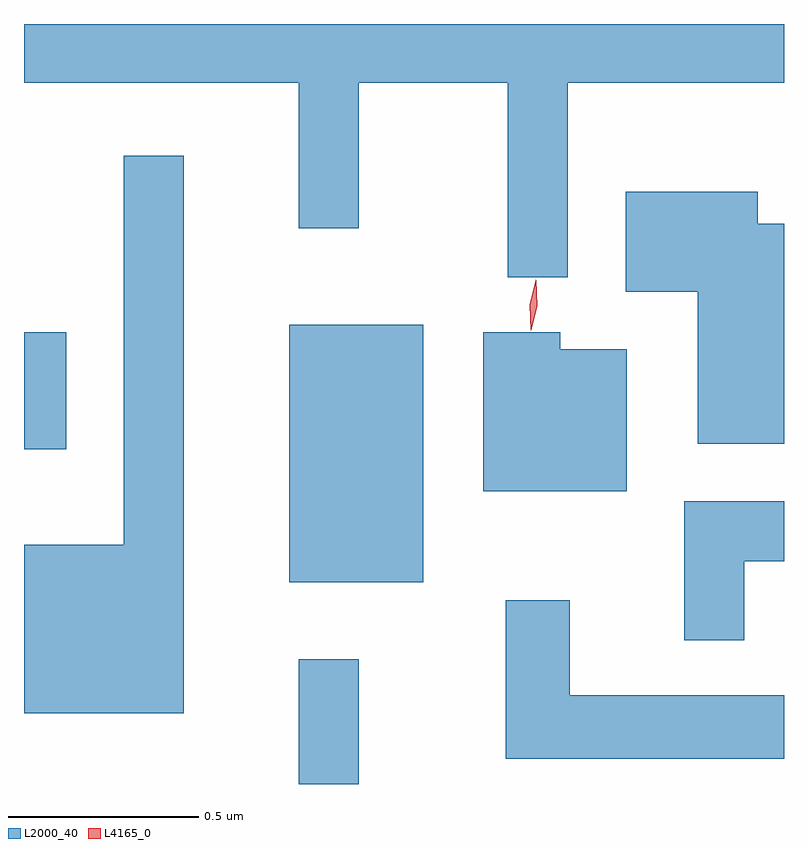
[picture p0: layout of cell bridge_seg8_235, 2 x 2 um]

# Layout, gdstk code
import gdstk
lib = gdstk.Library(unit=1e-6, precision=1e-09)
def R(c, l, rs):  # rectangles x0, y0, x1, y1
    for r in rs: c.add(gdstk.rectangle(r[:2], r[2:], *l))
def P(c, l, *ps):  # polygons
    for p in ps: c.add(gdstk.Polygon(p, *l))
L2000_40 = (2000, 40)
L4165_0 = (4165, 0)

bridge_seg8_235 = lib.new_cell('bridge_seg8_235')
R(bridge_seg8_235, L2000_40, [(1047.676,1918.93,1047.834,1919.258), (1047.651,1919.461,1048.004,1920.139), (1046.953,1919.811,1047.064,1920.119)])
P(bridge_seg8_235, L2000_40, [(1048.384,1920.776),(1048.953,1920.776),(1048.953,1920.93),(1046.953,1920.93),(1046.953,1920.776),(1047.676,1920.776),(1047.676,1920.393),(1047.834,1920.393),(1047.834,1920.776),(1048.226,1920.776),(1048.226,1920.263),(1048.384,1920.263)],
  [(1047.374,1920.583),(1047.216,1920.583),(1047.216,1919.559),(1046.953,1919.559),(1046.953,1919.116),(1047.374,1919.116)],
  [(1048.953,1920.404),(1048.884,1920.404),(1048.884,1920.489),(1048.536,1920.489),(1048.536,1920.226),(1048.726,1920.226),(1048.726,1919.826),(1048.953,1919.826)],
  [(1048.539,1920.074),(1048.364,1920.074),(1048.364,1920.119),(1048.161,1920.119),(1048.161,1919.701),(1048.539,1919.701)],
  [(1048.849,1919.516),(1048.953,1919.516),(1048.953,1919.674),(1048.691,1919.674),(1048.691,1919.308),(1048.849,1919.308)],
  [(1048.953,1919.164),(1048.389,1919.164),(1048.389,1919.413),(1048.221,1919.413),(1048.221,1918.996),(1048.953,1918.996)])
P(bridge_seg8_235, L4165_0, [(1048.287,1920.124),(1048.287,1920.124),(1048.284,1920.191),(1048.3,1920.256),(1048.3,1920.257),(1048.301,1920.256),(1048.304,1920.189),(1048.288,1920.124)])

lib.write_gds('bridge_seg8_235.gds')
